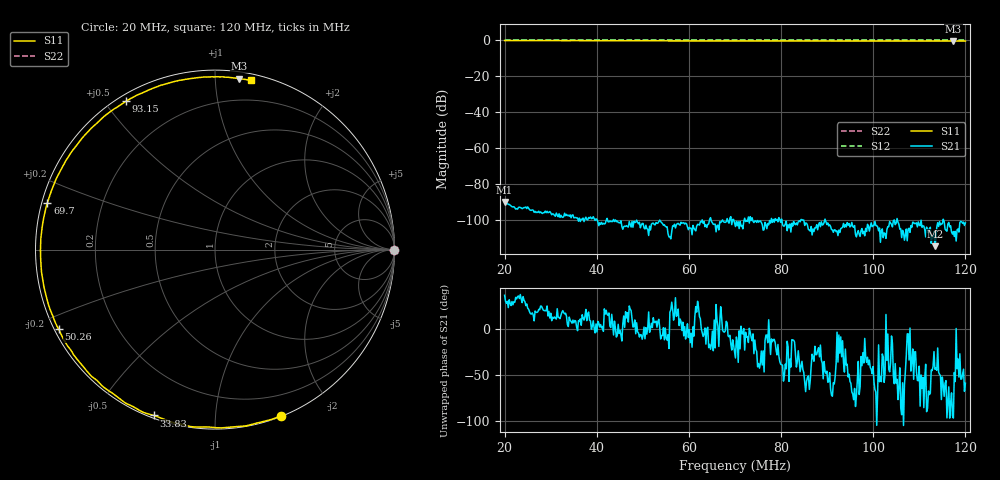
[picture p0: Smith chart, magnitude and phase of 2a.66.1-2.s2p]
! Anritsu VNA Master:  Model: MS2036C/10/77
! SN:  1601066
! /bd0/18may26.balun/2a.66.s2p
! Existing Calibration Information:
! TYPE:  Current Settings,  Active Cal Settings
! TIME:  05/26/2018 07:41:06 PM,  05/26/2018 07:26:54 PM
! INTERNAL TEMP:  45.0 C,  45.5 C
! # POINTS:  500,  500
! START FREQ:  20.000 MHz,  20.000 MHz
! STOP FREQ:  120.000 MHz,  120.000 MHz
! SOURCE POWER:  High,  High
! IFBW:  50 Hz,  50 Hz
! AVG FACTOR:  1 ,  1
! REF PLANE 1:  0 mm,  0 mm
! REF PLANE 2:  0 mm,  0 mm
! CAL TYPE:  Full S11,  Full S11
! CAL METHOD:  SOLT,  SOLT
! CAL LINE TYPE:  Coax,  Coax
! DUT PORT 1:  K-Conn(M),  K-Conn(M)
! DUT PORT 2:  K-Conn(M),  K-Conn(M)
! CAL STATUS:  OK: Accuracy High,  --
# GHZ S DB R 50.0
! FREQ.GHZ  S11DB  S11A  S21DB  S21A  S12DB  S12A  S22DB  S22A
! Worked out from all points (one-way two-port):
!   500 points, 20 MHz to 120 MHz, reference 50 ohm
!   highest |S21| = -90.06 dB at 20 MHz (marker M1); lowest = -114.7 dB at 113.4 MHz (marker M2)
!   lowest |S11| = -0.3 dB at 117.4 MHz (marker M3), VSWR 51.05, Z = 2.28 + j57.6 ohm
!   |S11| at or under -10 dB: nowhere
!   |S22| runs from 0.0 to 0.0 dB; largest |S21 - S12| = 1
!   S11 on the Smith chart (normalised r, x): 20 MHz: 0.01, -1.48; 33.83 MHz: 0.01, -0.70; 50.26 MHz: 0.01, -0.24; 69.7 MHz: 0.02, +0.14; 93.15 MHz: 0.02, +0.57; 120 MHz: 0.05, +1.23
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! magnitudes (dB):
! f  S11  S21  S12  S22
! 20 MHz  0.0  -90.1  0.0  0.0
! 23.61 MHz  0.0  -93.4  0.0  0.0
! 27.62 MHz  -0.1  -96.1  0.0  0.0
! 29.62 MHz  0.0  -95.8  0.0  0.0
! 33.83 MHz  -0.1  -97.5  0.0  0.0
! 35.03 MHz  -0.1  -98.9  0.0  0.0
! 36.83 MHz  -0.1  -99.7  0.0  0.0
! 37.64 MHz  -0.1  -98.5  0.0  0.0
! 39.24 MHz  -0.1  -98.3  0.0  0.0
! 40.64 MHz  -0.1  -101.7  0.0  0.0
! 41.84 MHz  -0.2  -102.1  0.0  0.0
! 42.85 MHz  -0.1  -100.6  0.0  0.0
! 50.26 MHz  -0.2  -104.6  0.0  0.0
! 53.47 MHz  -0.2  -101.0  0.0  0.0
! 69.7 MHz  -0.3  -99.8  0.0  0.0
! 70.1 MHz  -0.3  -103.7  0.0  0.0
! 86.73 MHz  -0.3  -108.5  0.0  0.0
! 93.15 MHz  -0.3  -104.6  0.0  0.0
! 103.4 MHz  -0.3  -103.8  0.0  0.0
! 113.4 MHz  -0.3  -114.7  0.0  0.0
! 117.4 MHz  -0.3  -106.5  0.0  0.0
! 120 MHz  -0.3  -101.7  0.0  0.0
